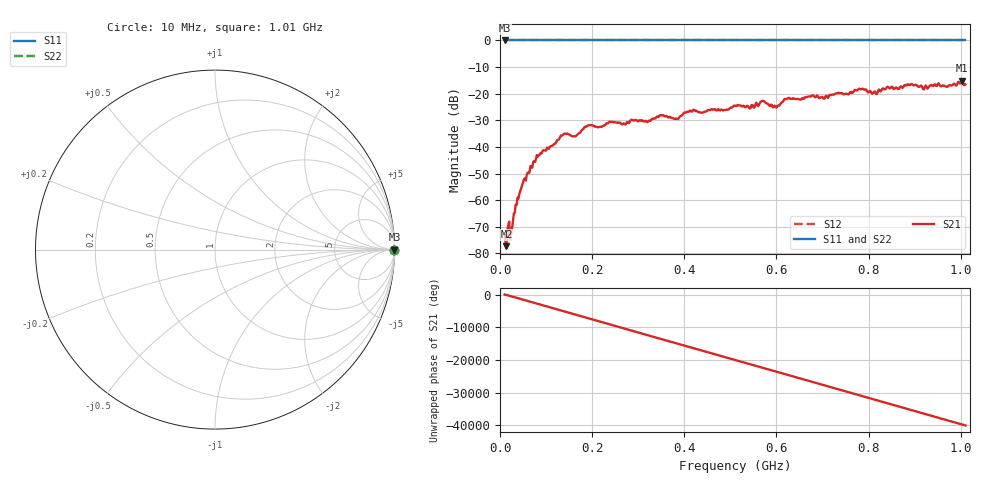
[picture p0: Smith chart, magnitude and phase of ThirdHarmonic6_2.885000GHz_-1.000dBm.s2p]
! 8/17/2025 7:55:39 AM
! C:\ANRITSUVNA\TEMP\TEMP.S2P
! CHANNEL.1
! TR.MEASUREMENT
! RAW.DATA
! RF.CORRECTION.OFF
! AVERAGING.OFF
! IF.BANDWIDTH: 5KHZ
! SWEEPTYPE:  FREQ.SWEEP(Linear)
! Reference Plane Port Info
! PORT:  PORT1  PORT2
! DISTANCE:  0  m  0  m
! TIME:  0  s  0  s
! PHASE.OFFSET:  0  deg.  0  deg.
! LOSS:  0  dB  0  dB
! REF.LOSS:  0  dB  0  dB
! REF.FREQ:  0  Hz  0  Hz
! Power Info
! POWER:  -20  dBm  -20  dBm
! EFF.POWER:  -20  dBm  -20  dBm
! SOURCE.ATTEN:  0  dB  0  dB
! TEST.ATTEN:  0  dB  0  dB
# GHZ S RI R 50.0
! FREQ.GHZ  S11RE  S11IM  S21RE  S21IM  S12RE  S12IM  S22RE  S22IM
!; PortSelection: Port_12
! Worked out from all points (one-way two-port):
!   501 points, 10 MHz to 1.01 GHz, reference 50 ohm
!   highest |S21| = -15.07 dB at 1.002 GHz (marker M1); lowest = -77.3 dB at 14 MHz (marker M2)
!   lowest |S11| = 0.0 dB at 10 MHz (marker M3)
!   |S11| at or under -10 dB: nowhere
!   |S22| runs from 0.0 to 0.0 dB; largest |S21 - S12| = 1.2
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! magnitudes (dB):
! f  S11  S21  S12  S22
! 10 MHz  0.0  -73.2  0.0  0.0
! 14 MHz  0.0  -77.3  0.0  0.0
! 26 MHz  0.0  -70.8  0.0  0.0
! 34 MHz  0.0  -61.7  0.0  0.0
! 50 MHz  0.0  -53.3  0.0  0.0
! 76 MHz  0.0  -45.6  0.0  0.0
! 136 MHz  0.0  -35.6  0.0  0.0
! 162 MHz  0.0  -36.1  0.0  0.0
! 178 MHz  0.0  -33.6  0.0  0.0
! 344 MHz  0.0  -28.8  0.0  0.0
! 382 MHz  0.0  -29.3  0.0  0.0
! 410 MHz  0.0  -26.7  0.0  0.0
! 510 MHz  0.0  -24.5  0.0  0.0
! 570 MHz  0.0  -22.6  0.0  0.0
! 596 MHz  0.0  -24.5  0.0  0.0
! 622 MHz  0.0  -22.0  0.0  0.0
! 678 MHz  0.0  -20.6  0.0  0.0
! 782 MHz  0.0  -18.3  0.0  0.0
! 814 MHz  0.0  -19.2  0.0  0.0
! 844 MHz  0.0  -17.8  0.0  0.0
! 1.002 GHz  0.0  -15.1  0.0  0.0
! 1.01 GHz  0.0  -16.5  0.0  0.0
